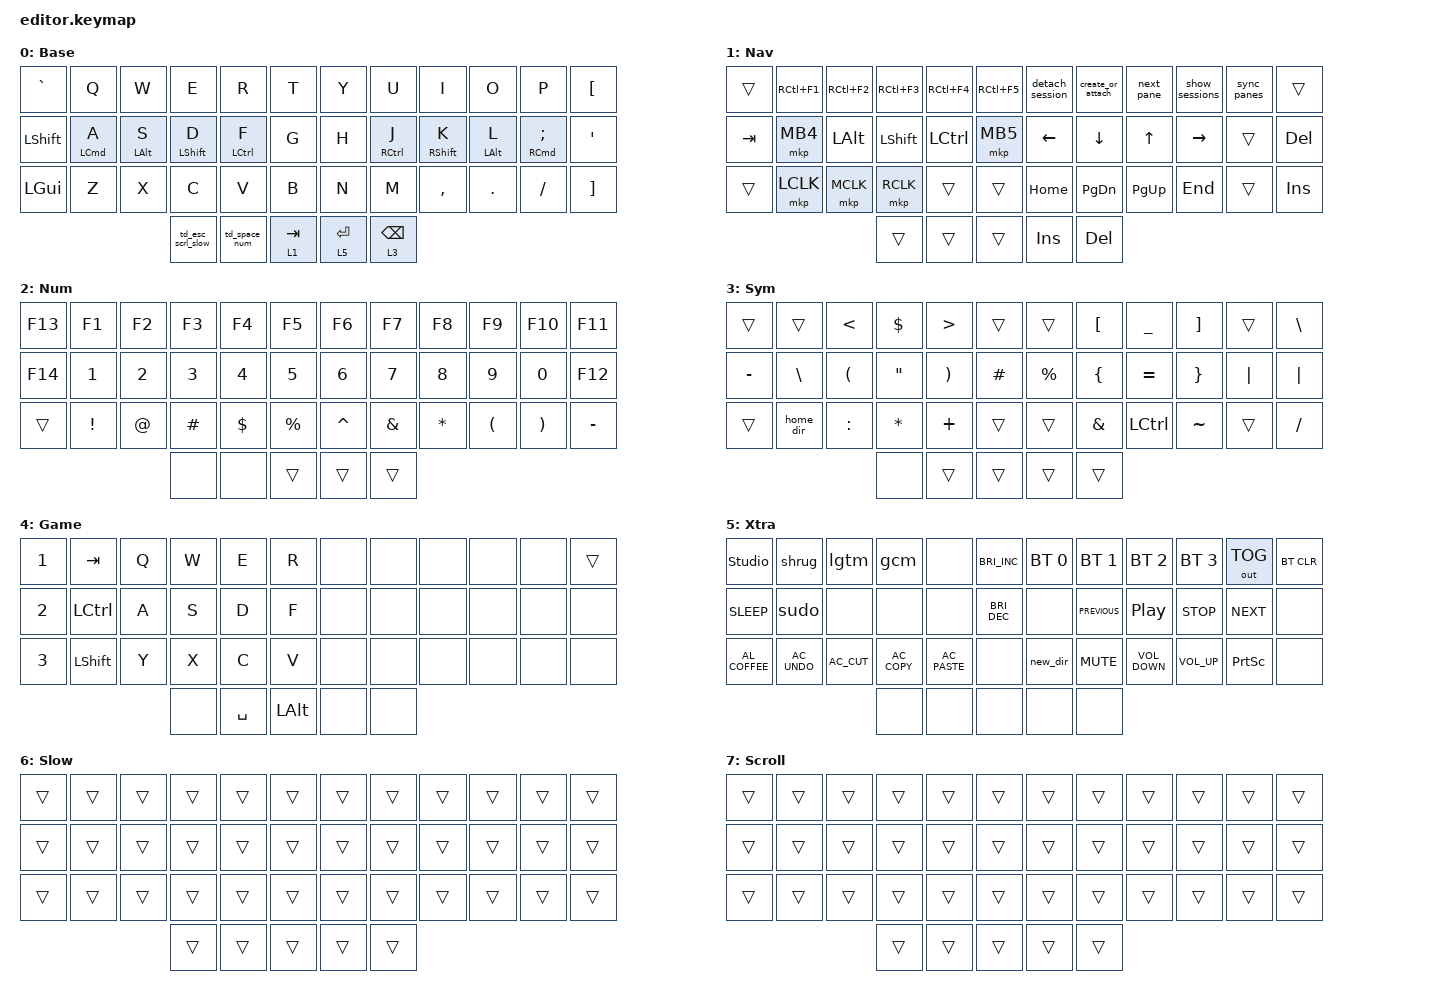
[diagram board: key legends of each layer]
/* AUTO-GENERATED FILE — EDIT IN KEYMAP EDITOR */
// BEGIN_BEHAVIORS

#define KEYS_L 0 1 2 3 4 5 12 13 14 15 16 17 24 25 26 27 28 29 36 37 38 19 20 21 22  // Left-hand keys.
#define KEYS_R 6 7 8 9 10 11 18 19 20 21 22 23 30 31 32 33 34 35 39 40 16 15 14 13  // Right-hand keys.
#define THUMBS 36 37 38 39 40  // Thumb keys.

/ {
    behaviors {
        // ht_num_func: homerow_mod {
        //     compatible = "zmk,behavior-hold-tap";
        //     #binding-cells = <2>;
        //     flavor = "tap-preferred";
        //     tapping-term-ms = <260>; // triggers the hold behavior when the tapping-term-ms has expired
        //     quick-tap-ms = <220>; // If you press a tapped hold-tap again within quick-tap-ms milliseconds of the first press, it will always trigger the tap behavior.
        //     require-prior-idle-ms = <185>; // like quick-tap-ms however it will apply for any non-modifier key pressed before it
        //     bindings = <&kp>, <&kp>;  // hold, tap
        // };

        mm_f1: num_or_f1 {
            compatible = "zmk,behavior-mod-morph";
            #binding-cells = <0>;
            bindings = <&kp N1>, <&kp F1>;

            mods = <MOD_LSFT>;

            // no modifier → 1,  with Shift → F1
        };

        mm_f2: num_or_f2 {
            compatible = "zmk,behavior-mod-morph";
            #binding-cells = <0>;
            bindings = <&kp N2>, <&kp F2>;

            mods = <MOD_LSFT>;

            // no modifier → 2,  with Shift → F2
        };

        mm_f3: num_or_f3 {
            compatible = "zmk,behavior-mod-morph";
            #binding-cells = <0>;
            bindings = <&kp N3>, <&kp F3>;

            mods = <MOD_LSFT>;

            // no modifier → 3,  with Shift → F3
        };

        mm_f4: num_or_f4 {
            compatible = "zmk,behavior-mod-morph";
            #binding-cells = <0>;
            bindings = <&kp N4>, <&kp F4>;

            mods = <MOD_LSFT>;

            // no modifier → 4,  with Shift → F4
        };

        mm_f5: num_or_f5 {
            compatible = "zmk,behavior-mod-morph";
            #binding-cells = <0>;
            bindings = <&kp N5>, <&kp F5>;

            mods = <MOD_LSFT>;

            // no modifier → 5,  with Shift → F5
        };

        mm_f6: num_or_f6 {
            compatible = "zmk,behavior-mod-morph";
            #binding-cells = <0>;
            bindings = <&kp N6>, <&kp F6>;

            mods = <MOD_LSFT>;

            // no modifier → 6,  with Shift → F6
        };

        mm_f7: num_or_f7 {
            compatible = "zmk,behavior-mod-morph";
            #binding-cells = <0>;
            bindings = <&kp N7>, <&kp F7>;

            mods = <MOD_LSFT>;

            // no modifier → 7,  with Shift → F7
        };

        mm_f8: num_or_f8 {
            compatible = "zmk,behavior-mod-morph";
            #binding-cells = <0>;
            bindings = <&kp N8>, <&kp F8>;

            mods = <MOD_LSFT>;

            // no modifier → 8,  with Shift → F8
        };

        mm_f9: num_or_f9 {
            compatible = "zmk,behavior-mod-morph";
            #binding-cells = <0>;
            bindings = <&kp N9>, <&kp F9>;

            mods = <MOD_LSFT>;

            // no modifier → 9,  with Shift → F9
        };

        mm_f10: pct_or_f10 {
            compatible = "zmk,behavior-mod-morph";
            #binding-cells = <0>;
            bindings = <&kp PRCNT>, <&kp F10>;

            mods = <MOD_LSFT>;

            // no modifier → % (PRCNT),  with Shift → F10
        };

        mm_f11: asterisk_or_f11 {
            compatible = "zmk,behavior-mod-morph";
            #binding-cells = <0>;
            bindings = <&kp ASTRK>, <&kp F11>;

            mods = <MOD_LSFT>;

            // no modifier → * (ASTRK),  with Shift → F11
        };

        mm_f12: dot_or_f12 {
            compatible = "zmk,behavior-mod-morph";
            #binding-cells = <0>;
            bindings = <&kp DOT>, <&kp F12>;

            mods = <MOD_LSFT>;

            // no modifier → . (DOT),    with Shift → F12
        };

        // Left-hand HRM

        ht_left: left_side_homerow_mod {
            compatible = "zmk,behavior-hold-tap";
            #binding-cells = <2>;
            flavor = "balanced";
            tapping-term-ms = <220>;
            quick-tap-ms = <180>;
            require-prior-idle-ms = <165>;
            retro-tap;
            bindings = <&kp>, <&kp>;

            hold-trigger-key-positions = <KEYS_R THUMBS>;

            // HRM for the LEFT hand: hold → modifier (1st param), tap → key (2nd param).
            // Hold only triggers when a RIGHT-hand or thumb key follows (prevents accidental mods).
        };

        // Right-hand HRM

        ht_right: right_side_homerow_mod {
            compatible = "zmk,behavior-hold-tap";
            #binding-cells = <2>;
            flavor = "balanced";
            tapping-term-ms = <220>;
            quick-tap-ms = <180>;
            require-prior-idle-ms = <155>;
            retro-tap;
            bindings = <&kp>, <&kp>;

            hold-trigger-key-positions = <KEYS_L THUMBS>;

            // HRM for the RIGHT hand: hold → modifier (1st param), tap → key (2nd param).
            // Hold only triggers when a LEFT-hand or thumb key follows (prevents accidental mods).
        };

        td_esc_scrl_slow: td_esc_scrl_slow {
            compatible = "zmk,behavior-tap-dance";
            #binding-cells = <0>;
            tapping-term-ms = <150>;
            bindings = <&lt 7 ESC>, <&mo 6>;

            // tap        → ESC
            // hold       → Layer 7: trackball → scroll (scroller mode)
            // double-tap → Layer 6: trackball → slow pointer (2/6 speed scale)
        };

        lt_nav: nav_layer_tap {
            compatible = "zmk,behavior-hold-tap";
            #binding-cells = <2>;
            flavor = "tap-preferred";
            tapping-term-ms = <170>;
            bindings = <&mo>, <&kp>;

            // Helper hold-tap (tap-preferred, 170ms).
            // hold → &mo <layer> (momentary),  tap → &kp <key>
        };

        td_space_num: td_space {
            compatible = "zmk,behavior-tap-dance";
            #binding-cells = <0>;
            tapping-term-ms = <110>;
            bindings = <&lt_nav 2 SPACE>, <&kp SPACE>;

            // tap        → SPACE
            // hold       → Layer 1 (NUM) active while held
            // double-tap → SPACE
        };

        mo_clk: mo_click {
            compatible = "zmk,behavior-hold-tap";
            #binding-cells = <2>;
            flavor = "hold-preferred";
            tapping-term-ms = <40>;
            hold-while-undecided;
            bindings = <&mo>, <&mkp>;

            // Helper hold-tap (hold-preferred, 40ms, hold-while-undecided).
            // hold → &mo <layer> (momentary),  tap → &mkp <mouse-button>
        };

        td_clk: td_clk {
            compatible = "zmk,behavior-tap-dance";
            #binding-cells = <0>;
            tapping-term-ms = <170>;
            bindings = <&mo_clk 3 LCLK>, <&mkp LCLK>;

            // tap        → Left click (LCLK)
            // hold       → Layer 3 (SYM) active while held
            // double-tap → Left click (LCLK)
        };

        mo_kp: mo_kp {
            compatible = "zmk,behavior-hold-tap";
            #binding-cells = <2>;
            flavor = "hold-preferred";
            tapping-term-ms = <40>;
            hold-while-undecided;
            bindings = <&mo>, <&kp>;

            // Helper hold-tap (hold-preferred, 40ms, hold-while-undecided).
            // hold → &mo <layer> (momentary),  tap → &kp <key>
        };

        td_bs: td_bs {
            compatible = "zmk,behavior-tap-dance";
            #binding-cells = <0>;
            tapping-term-ms = <170>;
            bindings = <&mo_kp 2 BACKSPACE>, <&kp BACKSPACE>;

            // tap        → BACKSPACE
            // hold       → Layer 1 (NUM) active while held
            // double-tap → BACKSPACE
        };

        httl: ht_two_layers {
            compatible = "zmk,behavior-hold-tap";
            #binding-cells = <2>;
            flavor = "balanced";
            tapping-term-ms = <125>;
            bindings = <&mo>, <&to>;

            // Helper hold-tap (balanced, 125ms).
            // hold → &mo <layer> (momentary),  tap → &to <layer> (permanent switch)
        };

        td_layers: td_layer_swap {
            compatible = "zmk,behavior-tap-dance";
            #binding-cells = <0>;
            bindings = <&to 0>, <&to 4>;

            // tap        → switch to Layer 0 (Base)
            // double-tap → switch to Layer 4 (Game)
        };

        td_clk_scrl: td_click_or_scroll {
            compatible = "zmk,behavior-tap-dance";
            #binding-cells = <0>;
            tapping-term-ms = <250>;
            bindings = <&mkp RCLK>, <&mo 0>;

            // tap/hold   → Right click (RCLK)
            // double-tap → Layer 8 active while held
        };

        td_bore: BASE_or_EXTRA {
            compatible = "zmk,behavior-tap-dance";
            #binding-cells = <0>;
            bindings = <&mo 5>, <&to 0>;

            // tap/hold   → Layer 5 (Xtra) active while held
            // double-tap → switch to Layer 0 (Base)
        };

        mm_qm_ex: question_exclamation {
            compatible = "zmk,behavior-mod-morph";
            #binding-cells = <0>;
            bindings = <&kp QUESTION>, <&kp EXCLAMATION>;

            mods = <(MOD_LSFT | MOD_RSFT)>;

            // no modifier → ? (QUESTION),  with Shift → ! (EXCLAMATION)
        };

        mm_pr_col: period_colon {
            compatible = "zmk,behavior-mod-morph";
            #binding-cells = <0>;
            bindings = <&kp PERIOD>, <&kp COLON>;

            mods = <(MOD_LSFT | MOD_RSFT)>;

            // no modifier → . (PERIOD),    with Shift → : (COLON)
        };

        mm_cm_sc: comma_semi_colon {
            compatible = "zmk,behavior-mod-morph";
            #binding-cells = <0>;
            bindings = <&kp COMMA>, <&kp SEMICOLON>;

            mods = <(MOD_LSFT | MOD_RSFT)>;

            // no modifier → , (COMMA),     with Shift → ; (SEMICOLON)
        };
    };
};

// END_BEHAVIORS
// BEGIN_MACROS

/ {
    macros {
        v_split: v_split {
            compatible = "zmk,behavior-macro";
            #binding-cells = <0>;
            bindings = <&macro_tap>, <&kp LC(B) &kp PRCNT>;
        };

        h_split: h_split {
            compatible = "zmk,behavior-macro";
            #binding-cells = <0>;
            bindings = <&macro_tap>, <&kp LC(B) &kp DQT>;
        };

        detach_session: detach_session {
            compatible = "zmk,behavior-macro";
            #binding-cells = <0>;
            bindings = <&kp LC(B) &kp D>;
        };

        sync_panes: sync_panes {
            compatible = "zmk,behavior-macro";
            #binding-cells = <0>;
            bindings = <&kp LC(B) &kp SPACE>;
        };

        next_pane: next_pane {
            compatible = "zmk,behavior-macro";
            #binding-cells = <0>;
            bindings = <&kp LC(B) &kp O>;
        };

        show_sessions: show_sessions {
            compatible = "zmk,behavior-macro";
            #binding-cells = <0>;
            bindings = <&kp LC(B) &kp S>;
        };

        create_or_attach: create_or_attach {
            compatible = "zmk,behavior-macro";
            #binding-cells = <0>;
            bindings =
                <&macro_tap>,
                <&kp T>,
                <&macro_tap>,
                <&kp M>,
                <&macro_tap>,
                <&kp U>,
                <&macro_tap>,
                <&kp X>,
                <&macro_tap>,
                <&kp SPC>,
                <&macro_tap>,
                <&kp N>,
                <&macro_tap>,
                <&kp E>,
                <&macro_tap>,
                <&kp W>,
                <&macro_tap>,
                <&kp MINUS>,
                <&macro_tap>,
                <&kp S>,
                <&macro_tap>,
                <&kp E>,
                <&macro_tap>,
                <&kp S>,
                <&macro_tap>,
                <&kp S>,
                <&macro_tap>,
                <&kp I>,
                <&macro_tap>,
                <&kp O>,
                <&macro_tap>,
                <&kp N>,
                <&macro_tap>,
                <&kp SPC>,
                <&macro_tap>,
                <&kp MINUS>,
                <&macro_tap>,
                <&kp A>,
                <&macro_tap>,
                <&kp SPC>,
                <&macro_tap>,
                <&kp MINUS>,
                <&macro_tap>,
                <&kp S>,
                <&macro_tap>,
                <&kp SPC>;
        };

        shrug: shrug {
            compatible = "zmk,behavior-macro";
            #binding-cells = <0>;
            wait-ms = <10>;
            tap-ms = <20>;
            bindings =
                <&macro_press>,
                <&kp LCTRL &kp LSHFT>,
                <&macro_tap>,
                <&kp U>,
                <&macro_release>,
                <&kp LCTRL &kp LSHFT>,
                <&macro_tap>,
                <&kp N0 &kp N0 &kp A &kp F &kp SPC>,
                <&macro_tap>,
                <&kp BACKSLASH>,
                <&macro_tap>,
                <&kp UNDER>,
                <&macro_tap>,
                <&kp LPAR>,
                <&macro_press>,
                <&kp LCTRL &kp LSHFT>,
                <&macro_tap>,
                <&kp U>,
                <&macro_release>,
                <&kp LCTRL &kp LSHFT>,
                <&macro_tap>,
                <&kp N3 &kp N0 &kp C &kp N4 &kp SPC>,
                <&macro_tap>,
                <&kp RPAR>,
                <&macro_tap>,
                <&kp UNDER>,
                <&macro_tap>,
                <&kp FSLH>,
                <&macro_press>,
                <&kp LCTRL &kp LSHFT>,
                <&macro_tap>,
                <&kp U>,
                <&macro_release>,
                <&kp LCTRL &kp LSHFT>,
                <&macro_tap>,
                <&kp N0 &kp N0 &kp A &kp F &kp SPC>;
        };

        gcm: gcm {
            compatible = "zmk,behavior-macro";
            #binding-cells = <0>;
            wait-ms = <10>;
            tap-ms = <20>;
            bindings =
                <&macro_tap>,
                <&kp G &kp I &kp T &kp SPACE &kp C &kp O &kp M &kp M &kp I &kp T &kp SPACE &kp MINUS &kp A &kp M &kp SPACE &kp DQT &kp LS(W) &kp LS(I) &kp LS(P) &kp DQT>;
        };

        lgtm: lgtm {
            compatible = "zmk,behavior-macro";
            #binding-cells = <0>;
            wait-ms = <10>;
            tap-ms = <20>;
            bindings =
                <&macro_tap>,
                <&kp LS(L) &kp LS(G) &kp LS(T) &kp LS(M) &kp SPACE &kp MINUS &kp SPACE &kp LS(A) &kp P &kp P &kp R &kp O &kp V &kp E &kp D &kp EXCL>;
        };

        sudo: sudo {
            compatible = "zmk,behavior-macro";
            #binding-cells = <0>;
            wait-ms = <10>;
            tap-ms = <20>;
            bindings =
                <&macro_tap>,
                <&kp S &kp U &kp D &kp O>,
                <&macro_tap>,
                <&kp SPACE>,
                <&macro_tap>,
                <&kp EXCL &kp EXCL>,
                <&macro_tap>,
                <&kp RET>;
        };

        clip_hist: clip_hist {
            compatible = "zmk,behavior-macro";
            #binding-cells = <0>;
            bindings =
                <&macro_press>,
                <&kp LGUI>,
                <&macro_tap>,
                <&kp V>,
                <&macro_release>,
                <&kp LGUI>;
        };

        new_dir: new_dir {
            compatible = "zmk,behavior-macro";
            #binding-cells = <0>;
            bindings =
                <&macro_press>,
                <&kp LCTRL &kp LSHFT>,
                <&macro_tap>,
                <&kp N>,
                <&macro_release>,
                <&kp LCTRL &kp LSHFT>;
        };

        mc_add_above: multicursor_add_above {
            compatible = "zmk,behavior-macro";
            #binding-cells = <0>;
            bindings =
                <&macro_press>,
                <&kp LCTRL &kp LALT>,
                <&macro_tap>,
                <&kp UP>,
                <&macro_release>,
                <&kp LCTRL &kp LALT>;
        };

        mc_add_below: multicursor_add_below {
            compatible = "zmk,behavior-macro";
            #binding-cells = <0>;
            bindings =
                <&macro_press>,
                <&kp LCTRL &kp LALT>,
                <&macro_tap>,
                <&kp DOWN>,
                <&macro_release>,
                <&kp LCTRL &kp LALT>;
        };

        delete_line: delete_line {
            compatible = "zmk,behavior-macro";
            #binding-cells = <0>;
            bindings =
                <&macro_press>,
                <&kp LCTRL &kp LSHFT>,
                <&macro_tap>,
                <&kp K>,
                <&macro_release>,
                <&kp LCTRL &kp LSHFT>;
        };

        move_line_up: move_line_up {
            compatible = "zmk,behavior-macro";
            #binding-cells = <0>;
            bindings =
                <&macro_press>,
                <&kp LALT>,
                <&macro_tap>,
                <&kp UP>,
                <&macro_release>,
                <&kp LALT>;
        };

        move_line_down: move_line_down {
            compatible = "zmk,behavior-macro";
            #binding-cells = <0>;
            bindings =
                <&macro_press>,
                <&kp LALT>,
                <&macro_tap>,
                <&kp DOWN>,
                <&macro_release>,
                <&kp LALT>;
        };

        code_blk: code_blk {
            compatible = "zmk,behavior-macro";
            #binding-cells = <0>;
            bindings =
                <&macro_tap>,
                <&kp GRAVE>,
                <&macro_tap>,
                <&kp GRAVE>,
                <&macro_tap>,
                <&kp GRAVE>;
        };

        home_dir: home_dir {
            compatible = "zmk,behavior-macro";
            #binding-cells = <0>;
            bindings = <&macro_tap>, <&kp TILDE>, <&macro_tap>, <&kp FSLH>;
        };

        meta_space: alt_space {
            compatible = "zmk,behavior-macro";
            #binding-cells = <0>;
            bindings =
                <&macro_press>,
                <&kp LEFT_GUI>,
                <&macro_tap>,
                <&kp SPACE>,
                <&macro_release>,
                <&kp LEFT_GUI>;

            label = "ALT_SPACE";
        };

        gui_shift_space: alt_shift_space {
            compatible = "zmk,behavior-macro";
            #binding-cells = <0>;
            bindings =
                <&macro_press>,
                <&kp LEFT_GUI>,
                <&macro_press>,
                <&kp LALT>,
                <&macro_tap>,
                <&kp SPACE>,
                <&macro_release>,
                <&kp LALT>,
                <&macro_release>,
                <&kp LEFT_GUI>;

            label = "ALT_SHIFT_SPACE";
        };
    };
};

// END_MACROS
// BEGIN_COMBOS

/ {
    combos {
        compatible = "zmk,combos";

        CapsWord {
            bindings = <&caps_word>;
            key-positions = <17 18>;
            layers = <0>;
        };

        combo_BASE_or_EXTRAS {
            bindings = <&td_bore>;
            key-positions = <38 39>;
        };

        combo_left_click {
            bindings = <&mkp RCLK>;
            key-positions = <25 26>;
        };

        combo_middle_click {
            bindings = <&mkp MCLK>;
            key-positions = <26 27>;
        };

        combo_right_click {
            bindings = <&mkp LCLK>;
            key-positions = <27 28>;
        };

        Minus {
            bindings = <&kp MINUS>;
            key-positions = <3 4>;
        };

        Underscore {
            bindings = <&kp UNDERSCORE>;
            key-positions = <7 8>;
        };

        meta_space {
            bindings = <&meta_space>;
            key-positions = <1 2>;
        };

        game {
            bindings = <&td_layers>;
            key-positions = <29 30>;
        };

        meta_shift_space {
            bindings = <&gui_shift_space>;
            key-positions = <9 10>;
        };
    };
};

// END_COMBOS
// BEGIN_KEYMAP
/* upstream bindings and behaviors */

#include <dt-bindings/zmk/mouse.h>
#include <behaviors/mouse_keys.dtsi>
#include <behaviors.dtsi>
#include <dt-bindings/zmk/bt.h>
#include <dt-bindings/zmk/keys.h>
#include <dt-bindings/zmk/outputs.h>
#include <dt-bindings/zmk/pointing.h>

/* local overlays */

#include "macros.dtsi"
#include "behaviors.dtsi"
#include "combos.dtsi"

/ {
    /* --- KEYMAP CONFIG --- */
    // ╭──────┬──────┬──────┬──────┬──────┬──────╮  ╭──────┬──────┬──────┬──────┬──────┬──────╮
    //    00     01     02     03    04      05        06     07     08     09     10     11
    // ├──────┼──────┼──────┼──────┼──────┼──────┤  ├──────┼──────┼──────┼──────┼──────┼──────┤
    //    12     13     14     15    16      17        18     19     20     21     22     23
    // ├──────┼──────┼──────┼──────┼──────┼──────┤  ├──────┼──────┼──────┼──────┼──────┼──────┤
    //    24     25     26     27    28      29        30     31     32     33     34     35
    // ╰──────┴──────┴──────┼──────┼──────┼──────┤  ├──────┼──────┼──────┴──────┴──────┴──────╯
    //                         36     37     38        39     40
    //                      ╰──────┴──────┴──────╯  ╰──────┴──────╯
    // #define BASE    0
    // #define NUM     1
    // #define NAV     2
    // #define SYM     3
    // #define GAME    4
    // #define EXTRAS  5
    // #define SLOW    6
    // #define SCROLL  7

    keymap {
        compatible = "zmk,keymap";

        BASE {
            display-name = "Base";
            bindings = <
&kp GRAVE       &kp Q            &kp W            &kp E              &kp R             &kp T        &kp Y        &kp U              &kp I              &kp O             &kp P                     &kp LEFT_BRACKET
&kp LEFT_SHIFT  &ht_left LCMD A  &ht_left LALT S  &ht_left LSHFT D   &ht_left LCTRL F  &kp G        &kp H        &ht_right RCTRL J  &ht_right RSHFT K  &ht_right LALT L  &ht_right RCMD SEMICOLON  &kp SQT
&kp LEFT_GUI    &kp Z            &kp X            &kp C              &kp V             &kp B        &kp N        &kp M              &kp COMMA          &kp PERIOD        &kp SLASH                 &kp RIGHT_BRACKET
                                                  &td_esc_scrl_slow  &td_space_num     &lt 1 TAB    &lt 5 ENTER  &lt 3 BACKSPACE
            >;
        };

        NAV {
            display-name = "Nav";
            bindings = <
&trans   &kp RC(F1)  &kp RC(F2)  &kp RC(F3)  &kp RC(F4)  &kp RC(F5)    &detach_session  &create_or_attach  &next_pane    &show_sessions  &sync_panes  &trans
&kp TAB  &mkp MB4    &kp LALT    &kp LSHFT   &kp LCTRL   &mkp MB5      &kp LEFT_ARROW   &kp DOWN           &kp UP_ARROW  &kp RIGHT       &trans       &kp DELETE
&trans   &mkp LCLK   &mkp MCLK   &mkp RCLK   &trans      &trans        &kp HOME         &kp PAGE_DOWN      &kp PAGE_UP   &kp END         &trans       &kp INS
                                 &trans      &trans      &trans        &kp INSERT       &kp DELETE
            >;
        };

        NUM {
            display-name = "Num";
            bindings = <
&kp F13  &kp F1           &kp F2        &kp F3        &kp F4        &kp F5         &kp F6        &kp F7         &kp F8        &kp F9                &kp F10                &kp F11
&kp F14  &kp NUMBER_1     &kp NUMBER_2  &kp NUMBER_3  &kp NUMBER_4  &kp N5         &kp NUMBER_6  &kp N7         &kp N8        &kp N9                &kp N0                 &kp F12
&trans   &kp EXCLAMATION  &kp AT_SIGN   &kp HASH      &kp DOLLAR    &kp PERCENT    &kp CARET     &kp AMPERSAND  &kp ASTERISK  &kp LEFT_PARENTHESIS  &kp RIGHT_PARENTHESIS  &kp MINUS
                                        &none         &none         &trans         &trans        &trans
            >;
        };

        SYM {
            display-name = "Sym";
            bindings = <
&trans     &trans         &kp LESS_THAN         &kp DOLLAR         &kp GREATER_THAN       &trans      &trans       &kp LEFT_BRACKET  &kp UNDERSCORE  &kp RBKT         &trans    &kp BSLH
&kp MINUS  &kp BACKSLASH  &kp LEFT_PARENTHESIS  &kp DOUBLE_QUOTES  &kp RIGHT_PARENTHESIS  &kp HASH    &kp PERCENT  &kp LEFT_BRACE    &kp EQUAL       &kp RIGHT_BRACE  &kp PIPE  &kp PIPE
&trans     &home_dir      &kp COLON             &kp ASTERISK       &kp PLUS               &trans      &trans       &kp AMPERSAND     &kp LCTRL       &kp TILDE        &trans    &kp FSLH
                                                &none              &trans                 &trans      &trans       &trans
            >;
        };

        GAME {
            display-name = "Game";
            bindings = <
&kp N1  &kp TAB    &kp Q  &kp W  &kp E      &kp R           &none  &none  &none  &none  &none  &trans
&kp N2  &kp LCTRL  &kp A  &kp S  &kp D      &kp F           &none  &none  &none  &none  &none  &none
&kp N3  &kp LSHFT  &kp Y  &kp X  &kp C      &kp V           &none  &none  &none  &none  &none  &none
                          &none  &kp SPACE  &kp LEFT_ALT    &none  &none
            >;
        };

        EXTRAS {
            display-name = "Xtra";
            bindings = <
&studio_unlock   &shrug         &lgtm         &gcm           &none           &kp C_BRIGHTNESS_INC    &bt BT_SEL 0  &bt BT_SEL 1    &bt BT_SEL 2       &bt BT_SEL 3     &out OUT_TOG     &bt BT_CLR
&kp C_SLEEP      &sudo          &none         &none          &none           &kp C_BRIGHTNESS_DEC    &none         &kp C_PREVIOUS  &kp C_PLAY_PAUSE   &kp C_STOP       &kp C_NEXT       &none
&kp C_AL_COFFEE  &kp C_AC_UNDO  &kp C_AC_CUT  &kp C_AC_COPY  &kp C_AC_PASTE  &none                   &new_dir      &kp K_MUTE      &kp C_VOLUME_DOWN  &kp C_VOLUME_UP  &kp PRINTSCREEN  &none
                                              &none          &none           &none                   &none         &none
            >;
        };

        SLOW {
            display-name = "Slow";
            bindings = <
&trans  &trans  &trans  &trans  &trans  &trans    &trans  &trans  &trans  &trans  &trans  &trans
&trans  &trans  &trans  &trans  &trans  &trans    &trans  &trans  &trans  &trans  &trans  &trans
&trans  &trans  &trans  &trans  &trans  &trans    &trans  &trans  &trans  &trans  &trans  &trans
                        &trans  &trans  &trans    &trans  &trans
            >;
        };

        SCROLL {
            display-name = "Scroll";
            bindings = <
&trans  &trans  &trans  &trans  &trans  &trans    &trans  &trans  &trans  &trans  &trans  &trans
&trans  &trans  &trans  &trans  &trans  &trans    &trans  &trans  &trans  &trans  &trans  &trans
&trans  &trans  &trans  &trans  &trans  &trans    &trans  &trans  &trans  &trans  &trans  &trans
                        &trans  &trans  &trans    &trans  &trans
            >;
        };
    };
};

// END_KEYMAP
